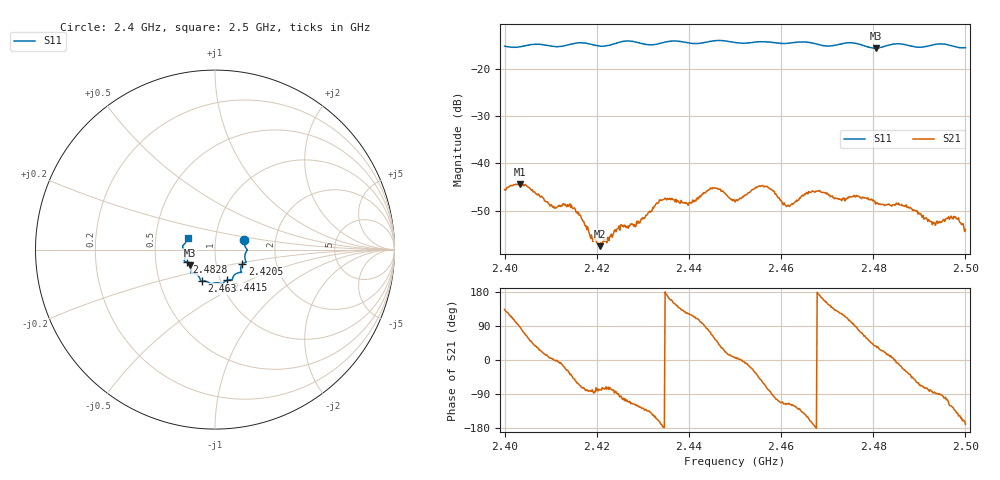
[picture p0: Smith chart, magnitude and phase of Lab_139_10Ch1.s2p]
# Hz S RI R 50
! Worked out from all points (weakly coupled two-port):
!   601 points, 2.4 GHz to 2.5 GHz, reference 50 ohm
!   highest |S21| = -44.33 dB at 2.4033 GHz (marker M1); lowest = -57.4 dB at 2.4207 GHz (marker M2)
!   lowest |S11| = -15.7 dB at 2.4805 GHz (marker M3), VSWR 1.39, Z = 37.3 - j6.69 ohm
!   |S11| at or under -10 dB: start of sweep to end of sweep
!   S12 and S22 are empty: the file has one direction only
!   S11 on the Smith chart (normalised r, x): 2.4 GHz: 1.38, +0.15; 2.4205 GHz: 1.34, -0.23; 2.4415 GHz: 1.07, -0.38; 2.463 GHz: 0.82, -0.29; 2.4828 GHz: 0.72, -0.10; 2.5 GHz: 0.73, +0.10
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2.4e9  0.1636 0.052  -0.00366 0.00386  0 0  0 0
2.403333e9  0.1686 0.0158  0.000308 0.00607  0 0  0 0
2.414667e9  0.1706 -0.0625  0.0025 -0.00234  0 0  0 0
2.416667e9  0.173 -0.0699  0.000789 -0.00252  0 0  0 0
2.4205e9  0.1521 -0.0818  0.000308 -0.00137  0 0  0 0
2.420667e9  0.1509 -0.0828  0.000267 -0.00132  0 0  0 0
2.425167e9  0.1461 -0.1225  -0.000197 -0.00224  0 0  0 0
2.428833e9  0.139 -0.1274  -0.00121 -0.00199  0 0  0 0
2.433333e9  0.1005 -0.1516  -0.00355 -0.0014  0 0  0 0
2.4415e9  0.0658 -0.1707  -0.00134 0.00379  0 0  0 0
2.445667e9  0.0419 -0.1919  0.00326 0.00448  0 0  0 0
2.45e9  0.0242 -0.1864  0.00391 0.000359  0 0  0 0
2.455667e9  -0.0201 -0.1905  0.00353 -0.00458  0 0  0 0
2.460833e9  -0.0546 -0.1754  -0.0016 -0.00331  0 0  0 0
2.463e9  -0.0721 -0.1737  -0.00209 -0.00333  0 0  0 0
2.466667e9  -0.0821 -0.167  -0.0049 -0.00131  0 0  0 0
2.4805e9  -0.1389 -0.0873  0.00297 0.00225  0 0  0 0
2.482833e9  -0.1586 -0.07  0.00351 0.00102  0 0  0 0
2.483333e9  -0.1624 -0.068  0.00365 0.000838  0 0  0 0
2.493167e9  -0.1783 0.0107  0.000199 -0.00236  0 0  0 0
2.498e9  -0.1641 0.0389  -0.00191 -0.00179  0 0  0 0
2.5e9  -0.1528 0.0643  -0.00199 -0.000356  0 0  0 0
